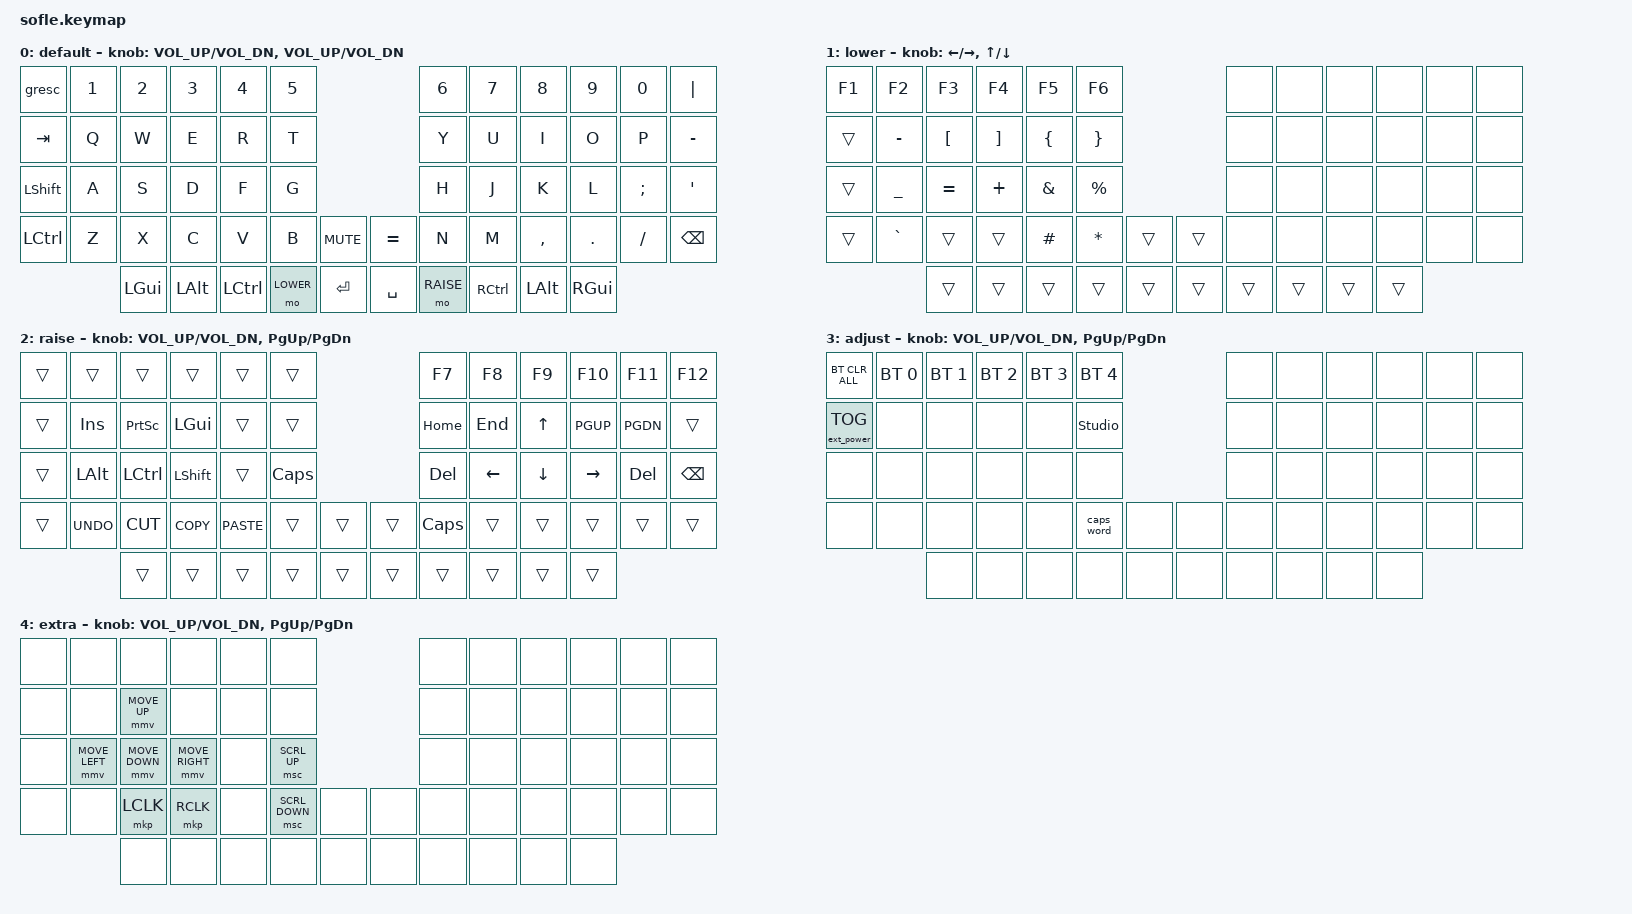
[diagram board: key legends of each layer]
/*
 * Copyright (c) 2020 The ZMK Contributors
 *
 * SPDX-License-Identifier: MIT
 */

#include <behaviors.dtsi>
#include <dt-bindings/zmk/bt.h>
#include <dt-bindings/zmk/ext_power.h>
#include <dt-bindings/zmk/keys.h>
#include <dt-bindings/zmk/pointing.h>

// Encoders

&sensors { triggers-per-rotation = <30>; };

&left_encoder { steps = <60>; };

&right_encoder { steps = <60>; };

#define BASE 0
#define LOWER 1
#define RAISE 2
#define ADJUST 3
#define EXTRA 4

/ {
    // Activate ADJUST layer by pressing raise and lower

    conditional_layers {
        compatible = "zmk,conditional-layers";

        adjust_layer {
            if-layers = <LOWER RAISE>;
            then-layer = <ADJUST>;
        };
    };

    combos { compatible = "zmk,combos"; };

    keymap {
        compatible = "zmk,keymap";

        // swap C_MUTE & EQUAL for encoder on the right

        default_layer {
            display-name = "default";

            // ------------------------------------------------------------------------------------------------------------
            // |  ESC  |  1  |  2  |  3   |  4   |  5   |                   |  6   |  7    |  8    |  9   |   0   |   \   |
            // |  TAB  |  Q  |  W  |  E   |  R   |  T   |                   |  Y   |  U    |  I    |  O   |   P   |   -   |
            // |LSHIFT |  A  |  S  |  D   |  F   |  G   |                   |  H   |  J    |  K    |  L   |   ;   |   '   |
            // | CTRL  |  Z  |  X  |  C   |  V   |  B   |  MUTE  |  |       |  N   |  M    |  ,    |  .   |   /   | BKSPC |
            //               | CMD | ALT  | SHIFT| LOWER|  ENTER |  | SPACE | RAISE| CTRL  | ALT   | GUI  |

            bindings = <
&gresc            &kp N1  &kp N2    &kp N3    &kp N4     &kp N5                              &kp N6     &kp N7     &kp N8     &kp N9    &kp N0    &kp PIPE
&kp TAB           &kp Q   &kp W     &kp E     &kp R      &kp T                               &kp Y      &kp U      &kp I      &kp O     &kp P     &kp MINUS
&kp LEFT_SHIFT    &kp A   &kp S     &kp D     &kp F      &kp G                               &kp H      &kp J      &kp K      &kp L     &kp SEMI  &kp SQT
&kp LEFT_CONTROL  &kp Z   &kp X     &kp C     &kp V      &kp B      &kp C_MUTE    &kp EQUAL  &kp N      &kp M      &kp COMMA  &kp DOT   &kp FSLH  &kp BSPC
                          &kp LGUI  &kp LALT  &kp LCTRL  &mo LOWER  &kp ENTER     &kp SPACE  &mo RAISE  &kp RCTRL  &kp LALT   &kp RGUI
            >;

            sensor-bindings = <&inc_dec_kp C_VOL_UP C_VOL_DN &inc_dec_kp C_VOL_UP C_VOL_DN>;
        };

        lower_layer {
            display-name = "lower";

            // TODO: Some binds are waiting for shifted keycode support.
            // ------------------------------------------------------------------------------------------------------------
            // |   F1  |  F2 |  F3 |  F4  |  F5  |  F6  |                   |  F7  |  F8   |  F9   |  F10 |   F11 |  F12  |
            // |   <>  |  -  |  [  |  ]   |  {   |  }   |                   |  6   |  7    |  8    |  9   |   0   |  F12  |
            // |   <>  |  _  |  =  |  +   |  &   |  %   |                   |  ^   |  &    |  *    |  (   |   )   |   |   |
            // |   <>  |  `  |  <> |  <>  |  #   |  *   |        |  |       |  [   |  ]    |  ;    |  :   |   \   |       |
            //               |     |      |      |      |        |  |       |      |       |       |      |

            bindings = <
&kp F1  &kp F2     &kp F3     &kp F4    &kp F5    &kp F6                       &none   &none   &none   &none   &none  &none
&trans  &kp MINUS  &kp LBKT   &kp RBKT  &kp LBRC  &kp RBRC                     &none   &none   &none   &none   &none  &none
&trans  &kp UNDER  &kp EQUAL  &kp PLUS  &kp AMPS  &kp PRCNT                    &none   &none   &none   &none   &none  &none
&trans  &kp GRAVE  &trans     &trans    &kp HASH  &kp STAR   &trans    &trans  &none   &none   &none   &none   &none  &none
                   &trans     &trans    &trans    &trans     &trans    &trans  &trans  &trans  &trans  &trans
            >;

            sensor-bindings =
                <&inc_dec_kp LEFT_ARROW RIGHT_ARROW>,
                <&inc_dec_kp UP_ARROW DOWN_ARROW>;
        };

        raise_layer {
            display-name = "raise";

            // ------------------------------------------------------------------------------------------------------------
            // | BTCLR | BT1  | BT2  |  BT3  |  BT4  |  BT5 |                |      |      |       |      |       |       |
            // |       | INS  | PSCR | GUI   |       |      |                | PGUP |      |   ^   |      |       |       |
            // |       | ALT  | CTRL | SHIFT |       | CAPS |                | PGDN |   <- |   v   |  ->  |  DEL  | BKSPC |
            // |       | UNDO | CUT  | COPY  | PASTE |      |      |  |      |      |      |       |      |       |       |
            //                |      |       |       |      |      |  |      |      |      |       |      |

            bindings = <
&trans  &trans      &trans     &trans          &trans       &trans                      &kp F7    &kp F8    &kp F9    &kp F10    &kp F11   &kp F12
&trans  &kp INS     &kp PSCRN  &kp LGUI        &trans       &trans                      &kp HOME  &kp END   &kp UP    &kp PGUP   &kp PGDN  &trans
&trans  &kp LALT    &kp LCTRL  &kp LEFT_SHIFT  &trans       &kp CLCK                    &kp DEL   &kp LEFT  &kp DOWN  &kp RIGHT  &kp DEL   &kp BSPC
&trans  &kp K_UNDO  &kp K_CUT  &kp K_COPY      &kp K_PASTE  &trans    &trans    &trans  &kp CAPS  &trans    &trans    &trans     &trans    &trans
                    &trans     &trans          &trans       &trans    &trans    &trans  &trans    &trans    &trans    &trans
            >;

            sensor-bindings = <&inc_dec_kp C_VOL_UP C_VOL_DN &inc_dec_kp PG_UP PG_DN>;
        };

        adjust_layer {
            // ----------------------------------------------------------------------------------------------------------------------------
            // | BTCLR  |  BT1    |  BT2    |   BT3   |   BT4   |   BT5   |                  |      |      |       |      |       |       |
            // | EXTPWR | RGB_HUD | RGB_HUI | RGB_SAD | RGB_SAI | RGB_EFF |                  |      |      |       |      |       |       |
            // |        | RGB_BRD | RGB_BRI |         |         |         |                  |      |      |       |      |       |       |
            // |        |         |         |         |         |         | RGB_TOG | |      |      |      |       |      |       |       |
            //                    |         |         |         |         |         | |      |      |      |       |      |

            display-name = "adjust";
            bindings = <
&bt BT_CLR_ALL     &bt BT_SEL 0  &bt BT_SEL 1  &bt BT_SEL 2  &bt BT_SEL 3  &bt BT_SEL 4                    &none  &none  &none  &none  &none  &none
&ext_power EP_TOG  &none         &none         &none         &none         &studio_unlock                  &none  &none  &none  &none  &none  &none
&none              &none         &none         &none         &none         &none                           &none  &none  &none  &none  &none  &none
&none              &none         &none         &none         &none         &caps_word      &none    &none  &none  &none  &none  &none  &none  &none
                                 &none         &none         &none         &none           &none    &none  &none  &none  &none  &none
            >;

            sensor-bindings = <&inc_dec_kp C_VOL_UP C_VOL_DN &inc_dec_kp PG_UP PG_DN>;
        };

        extra_layer {
            // ----------------------------------------------------------------------------------------------------------------------------
            // | BTCLR  |  BT1    |  BT2    |   BT3   |   BT4   |   BT5   |                  |      |      |       |      |       |       |
            // | EXTPWR | RGB_HUD | RGB_HUI | RGB_SAD | RGB_SAI | RGB_EFF |                  |      |      |       |      |       |       |
            // |        | RGB_BRD | RGB_BRI |         |         |         |                  |      |      |       |      |       |       |
            // |        |         |         |         |         |         | RGB_TOG | |      |      |      |       |      |       |       |
            //                    |         |         |         |         |         | |      |      |      |       |      |

            display-name = "extra";
            bindings = <
&none  &none           &none           &none            &none  &none                           &none  &none  &none  &none  &none  &none
&none  &none           &mmv MOVE_UP    &none            &none  &none                           &none  &none  &none  &none  &none  &none
&none  &mmv MOVE_LEFT  &mmv MOVE_DOWN  &mmv MOVE_RIGHT  &none  &msc SCRL_UP                    &none  &none  &none  &none  &none  &none
&none  &none           &mkp LCLK       &mkp RCLK        &none  &msc SCRL_DOWN  &none    &none  &none  &none  &none  &none  &none  &none
                       &none           &none            &none  &none           &none    &none  &none  &none  &none  &none
            >;

            sensor-bindings = <&inc_dec_kp C_VOL_UP C_VOL_DN &inc_dec_kp PG_UP PG_DN>;
        };
    };
};

// Main layer
// ESC    1 2 3 4 5                  6 7 8 9 0 \
// TAB    q w e r t                  y u i o p -
// LSHIFT a s d f g                  h j k l ; '
// LCTRL  z x c v b                  n m , . / BKSPC
// CMD ALT SHIFT RAISE ENTER         SPACE LOWER ESC NA ENTER //Thumb Clusters are the same on all layers, so are outer edges
// Left hand                         Right hand
// F1 F2 F3 F4 F5 F6                 F7   F8     F9      F10    F11  F12
// NA -  {  }  (  )                  Home End    UpArrow PgUp   PgDn NA
// NA _  =  +  [  ]                  Del  LArrow DArrow  RArrow NA   NA 
// NA `  %  #  &  *                  CAPS NA     NA      NA     NA   NA
